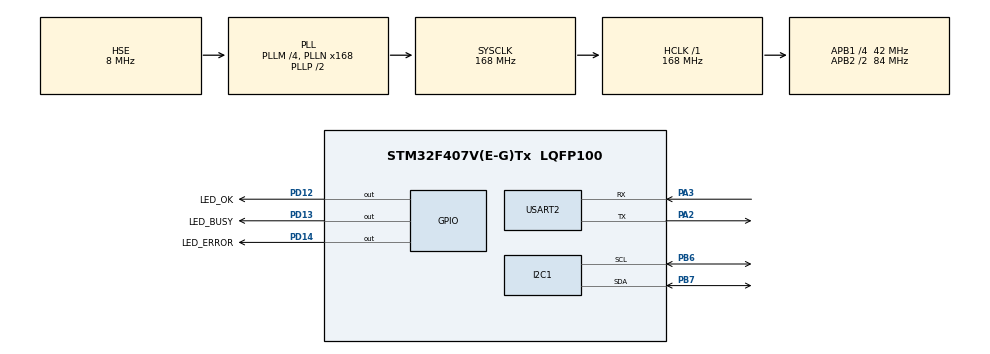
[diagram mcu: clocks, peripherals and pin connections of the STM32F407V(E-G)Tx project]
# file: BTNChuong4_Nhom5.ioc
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Dma.I2C1_RX.1.Direction=DMA_PERIPH_TO_MEMORY
Dma.I2C1_RX.1.FIFOMode=DMA_FIFOMODE_DISABLE
Dma.I2C1_RX.1.Instance=DMA1_Stream0
Dma.I2C1_RX.1.MemDataAlignment=DMA_MDATAALIGN_BYTE
Dma.I2C1_RX.1.MemInc=DMA_MINC_ENABLE
Dma.I2C1_RX.1.Mode=DMA_NORMAL
Dma.I2C1_RX.1.PeriphDataAlignment=DMA_PDATAALIGN_BYTE
Dma.I2C1_RX.1.PeriphInc=DMA_PINC_DISABLE
Dma.I2C1_RX.1.Priority=DMA_PRIORITY_LOW
Dma.Request0=USART2_TX
Dma.Request1=I2C1_RX
Dma.USART2_TX.0.Direction=DMA_MEMORY_TO_PERIPH
Dma.USART2_TX.0.FIFOMode=DMA_FIFOMODE_DISABLE
Dma.USART2_TX.0.Instance=DMA1_Stream6
Dma.USART2_TX.0.MemDataAlignment=DMA_MDATAALIGN_BYTE
Dma.USART2_TX.0.MemInc=DMA_MINC_ENABLE
Dma.USART2_TX.0.Mode=DMA_NORMAL
Dma.USART2_TX.0.PeriphDataAlignment=DMA_PDATAALIGN_BYTE
Dma.USART2_TX.0.PeriphInc=DMA_PINC_DISABLE
Dma.USART2_TX.0.Priority=DMA_PRIORITY_LOW
Mcu.Family=STM32F4
Mcu.Name=STM32F407V(E-G)Tx
Mcu.Package=LQFP100
NVIC.DMA1_Stream0_IRQn=true\:3\:0\:true\:false\:true\:false\:true\:true
NVIC.DMA1_Stream6_IRQn=true\:4\:0\:true\:false\:true\:false\:true\:true
NVIC.I2C1_ER_IRQn=true\:1\:0\:true\:false\:true\:true\:true\:true
NVIC.PriorityGroup=NVIC_PRIORITYGROUP_4
NVIC.USART2_IRQn=true\:2\:0\:true\:false\:true\:false\:true\:true
PA13.Mode=Serial_Wire
PA13.Signal=SYS_JTMS-SWDIO
PA14.Mode=Serial_Wire
PA14.Signal=SYS_JTCK-SWCLK
PA2.Mode=Asynchronous
PA2.Signal=USART2_TX
PA3.Mode=Asynchronous
PA3.Signal=USART2_RX
PB6.Mode=I2C
PB6.Signal=I2C1_SCL
PB7.Mode=I2C
PB7.Signal=I2C1_SDA
PD12.GPIO_Label=LED_OK
PD12.GPIO_ModeDefaultOutputPP=GPIO_MODE_OUTPUT_PP
PD12.GPIO_PuPd=GPIO_NOPULL
PD12.GPIO_Speed=GPIO_SPEED_FREQ_LOW
PD12.PinState=GPIO_PIN_RESET
PD12.Signal=GPIO_Output
PD13.GPIO_Label=LED_BUSY
PD13.Signal=GPIO_Output
PD14.GPIO_Label=LED_ERROR
PD14.Signal=GPIO_Output
PH0-OSC_IN.Mode=HSE-External-Oscillator
PH0-OSC_IN.Signal=RCC_OSC_IN
PH1-OSC_OUT.Mode=HSE-External-Oscillator
PH1-OSC_OUT.Signal=RCC_OSC_OUT
ProjectManager.HeapSize=0x200
ProjectManager.StackSize=0x400
ProjectManager.TargetToolchain=MDK-ARM V5.32
RCC.48MHZClocksFreq_Value=84000000
RCC.AHBFreq_Value=168000000
RCC.APB1CLKDivider=RCC_HCLK_DIV4
RCC.APB1Freq_Value=42000000
RCC.APB1TimFreq_Value=84000000
RCC.APB2CLKDivider=RCC_HCLK_DIV2
RCC.APB2Freq_Value=84000000
RCC.APB2TimFreq_Value=168000000
RCC.CortexFreq_Value=168000000
RCC.HCLKFreq_Value=168000000
RCC.HSE_VALUE=8000000
RCC.HSI_VALUE=16000000
RCC.LSE_VALUE=32768
RCC.PLLM=4
RCC.PLLN=168
RCC.PLLSourceVirtual=RCC_PLLSOURCE_HSE
RCC.SYSCLKFreq_VALUE=168000000
RCC.SYSCLKSource=RCC_SYSCLKSOURCE_PLLCLK
RCC.VCOOutputFreq_Value=336000000
USART2.VirtualMode=VM_ASYNC
board=custom

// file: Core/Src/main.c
/* USER CODE BEGIN Header */
/**
  ******************************************************************************
  * @file           : main.c
  * @brief          : Main program body
  ******************************************************************************
  * @attention
  *
  * Copyright (c) 2026 STMicroelectronics.
  * All rights reserved.
  *
  * This software is licensed under terms that can be found in the LICENSE file
  * in the root directory of this software component.
  * If no LICENSE file comes with this software, it is provided AS-IS.
  *
  ******************************************************************************
  */
/* USER CODE END Header */
#include "main.h"
#include "dma.h"
#include "i2c.h"
#include "usart.h"
#include "gpio.h"

/* USER CODE BEGIN Includes */
#include <stdio.h>
#include <string.h>
/* USER CODE END Includes */

/* USER CODE BEGIN PV */
// --- Biến cho MPU6050 ---
uint8_t data_raw[14];
int16_t accel_x, accel_y, accel_z;

// --- Biến cho Ngắt UART ---
uint8_t rxByte;              // Luu tung ky tu nhan duoc
char rxBuf[50];              // Bo dem luu chuoi lenh
uint8_t rxIndex = 0;         // Vi tri con tro trong bo dem
uint8_t cmdReady = 0;        // Co bao lenh da san sang
/* USER CODE END PV */

void SystemClock_Config(void);

int main(void)
{

  /* MCU Configuration--------------------------------------------------------*/

  /* Reset of all peripherals, Initializes the Flash interface and the Systick. */
  HAL_Init();

  /* Configure the system clock */
  SystemClock_Config();

  /* Initialize all configured peripherals */
  MX_GPIO_Init();
  MX_DMA_Init();
  MX_USART2_UART_Init();
  MX_I2C1_Init();
  /* USER CODE BEGIN 2 */
// ==========================================
// BƯỚC 0: TEST UART (Thông báo khởi động)
// ==========================================
  UART_Printf("\r\n=========================================\r\n");
  UART_Printf("   HE THONG KHOI DONG - TEST UART OK!    \r\n");
  UART_Printf("=========================================\r\n");

// ==========================================
// BƯỚC 1: KIỂM TRA I2C (EEPROM & MPU6050)
// ==========================================
uint8_t mpu_id = 0;
HAL_StatusTypeDef res_mpu, res_eeprom;

UART_Printf("\r\n--- DANG KIEM TRA KET NOI I2C ---\r\n");

// 1. Kiem tra EEPROM (Dia chi 0x50 << 1 = 0xA0)
res_eeprom = HAL_I2C_IsDeviceReady(&hi2c1, 0xA0, 3, 100);
if (res_eeprom == HAL_OK) {
    UART_Printf("[OK] Da tim thay EEPROM tai dia chi 0xA0\r\n");
} else {
    UART_Printf("[LOI] Khong tim thay EEPROM! Kiem tra chan A0,A1,A2 va day SDA/SCL\r\n");
}

// 2. Kiem tra MPU6050 (Dia chi 0x68 << 1 = 0xD0)
res_mpu = HAL_I2C_IsDeviceReady(&hi2c1, 0xD0, 3, 100);
if (res_mpu == HAL_OK) {
    UART_Printf("[OK] Da tim thay MPU6050 tai dia chi 0xD0\r\n");

    // 3. Doc thu thanh ghi WHO_AM_I (0x75) cua MPU6050
    HAL_I2C_Mem_Read(&hi2c1, 0xD0, 0x75, 1, &mpu_id, 1, 100);
    if (mpu_id == 0x68) {
        UART_Printf("[OK] Xac nhan chip MPU6050 chinh hang. ID: 0x%02X\r\n", mpu_id);
        HAL_GPIO_WritePin(GPIOD, LED_OK_Pin, GPIO_PIN_SET); // Sang LED xanh neu tat ca deu on
    } else {
        UART_Printf("[CANH BAO] ID doc duoc la 0x%02X, co ve khong phai MPU6050!\r\n", mpu_id);
    }
} else {
    UART_Printf("[LOI] Khong tim thay MPU6050! Kiem tra day va chan AD0\r\n");
    HAL_GPIO_WritePin(GPIOD, LED_ERROR_Pin, GPIO_PIN_SET); // Sang LED do bao loi
}
UART_Printf("---------------------------------\r\n");

 //Bat dau khai bao gtri
	uint8_t power_mgmt = 0x00;
HAL_I2C_Mem_Write(&hi2c1, 0xD0, 0x6B, 1, &power_mgmt, 1, 100);
UART_Printf("Da danh thuc MPU6050 thanh cong!\r\n");

//Khai bao trang thai LED
if (mpu_id == 0x68 && res_eeprom == HAL_OK) {
    // Mọi thứ hoàn hảo: Bật LED Xanh lá, Đảm bảo tắt LED Đỏ
    HAL_GPIO_WritePin(GPIOD, LED_OK_Pin, GPIO_PIN_SET);
    HAL_GPIO_WritePin(GPIOD, LED_ERROR_Pin, GPIO_PIN_RESET);
} else {
    // Có linh kiện không nhận: Bật LED Đỏ, Tắt LED Xanh
    HAL_GPIO_WritePin(GPIOD, LED_ERROR_Pin, GPIO_PIN_SET);
    HAL_GPIO_WritePin(GPIOD, LED_OK_Pin, GPIO_PIN_RESET);
}

// Sau khi khoi tao MPU6050 thi kich hoat de chip nghe lenh
HAL_UART_Receive_IT(&huart2, &rxByte, 1);
  /* USER CODE END 2 */

  /* Infinite loop */
  while (1)
  {

    /* USER CODE BEGIN 3 */

    // ==========================================
    // PHẦN 1: ĐỌC DỮ LIỆU CẢM BIẾN (Chạy liên tục)
    // ==========================================
    if (HAL_I2C_Mem_Read(&hi2c1, 0xD0, 0x3B, 1, data_raw, 14, 100) == HAL_OK)
    {
        accel_x = (int16_t)(data_raw[0] << 8 | data_raw[1]);
        accel_y = (int16_t)(data_raw[2] << 8 | data_raw[3]);
        accel_z = (int16_t)(data_raw[4] << 8 | data_raw[5]);

        HAL_GPIO_TogglePin(GPIOD, LED_OK_Pin);

			//********* NOTE: ON/OFF phan in ra man hinh Hercules *****************
       UART_Printf("X:%d \t Y:%d \t Z:%d \r\n", accel_x, accel_y, accel_z);
    }
    else
    {
        UART_Printf("Loi doc I2C! \r\n");
        HAL_GPIO_WritePin(GPIOD, LED_ERROR_Pin, GPIO_PIN_SET);
    }

		// ==========================================
    // PHẦN 2: XỬ LÝ LỆNH TỪ HERCULES (Bản Hoàn Thiện)
    // ==========================================
    if (cmdReady == 1) {

        // 1. Lệnh SAVE: Minh họa "GHI BLOCK" (Ghi 1 lèo 6 byte X, Y, Z)
        if (strcmp(rxBuf, "SAVE") == 0) {
            UART_Printf("\r\n>> Dang thuc hien GHI BLOCK 6 byte vao EEPROM...\r\n");
            uint8_t data_to_save[6];
            data_to_save[0] = (uint8_t)(accel_x >> 8);
            data_to_save[1] = (uint8_t)(accel_x & 0xFF);
            data_to_save[2] = (uint8_t)(accel_y >> 8);
            data_to_save[3] = (uint8_t)(accel_y & 0xFF);
            data_to_save[4] = (uint8_t)(accel_z >> 8);
            data_to_save[5] = (uint8_t)(accel_z & 0xFF);

            HAL_GPIO_WritePin(GPIOD, LED_BUSY_Pin, GPIO_PIN_SET);
            HAL_I2C_Mem_Write(&hi2c1, 0xA0, 0x00, 1, data_to_save, 6, 100);
            HAL_Delay(5);
            HAL_GPIO_WritePin(GPIOD, LED_BUSY_Pin, GPIO_PIN_RESET);
            UART_Printf(">> [OK] Da ghi BLOCK xong.\r\n\r\n");
        }

        // 2. Lệnh WRITE: Minh họa "GHI BYTE" (Cú pháp: WRITE <Dia_Chi_Hex> <Noi_Dung_Hex>)
        // Ví dụ gõ trên Hercules: WRITE 08 FF (Ghi giá trị 0xFF vào ô nhớ 0x08)
        else if (strncmp(rxBuf, "WRITE ", 6) == 0) {
            unsigned int addr, val;
            // Bóc tách địa chỉ và giá trị từ lệnh gõ
            sscanf(rxBuf + 6, "%x %x", &addr, &val);
            uint8_t data_byte = (uint8_t)val;

            HAL_GPIO_WritePin(GPIOD, LED_BUSY_Pin, GPIO_PIN_SET);
            // Độ dài dữ liệu là 1 -> Ghi Byte
            HAL_I2C_Mem_Write(&hi2c1, 0xA0, (uint16_t)addr, 1, &data_byte, 1, 100);
            HAL_Delay(5);
            HAL_GPIO_WritePin(GPIOD, LED_BUSY_Pin, GPIO_PIN_RESET);

            UART_Printf("\r\n>> [OK] Da thuc hien GHI BYTE. Dia chi: 0x%02X | Noi dung: 0x%02X\r\n\r\n", addr, data_byte);
        }

        // 3. Lệnh READ: Minh họa "PC Đọc Địa Chỉ Và Nội Dung" (Cú pháp: READ <Dia_Chi_Hex>)
        // Ví dụ gõ trên Hercules: READ 08
        else if (strncmp(rxBuf, "READ ", 5) == 0) {
            unsigned int addr;
            // Bóc tách địa chỉ muốn đọc
            sscanf(rxBuf + 5, "%x", &addr);
            uint8_t read_byte = 0;

            HAL_I2C_Mem_Read(&hi2c1, 0xA0, (uint16_t)addr, 1, &read_byte, 1, 100);

            // In đúng yêu cầu: Địa chỉ và Nội dung
            UART_Printf("\r\n>> [EEPROM] PC Yeu cau doc Dia chi: 0x%02X | Noi dung: 0x%02X (%d)\r\n\r\n", addr, read_byte, read_byte);
        }
        else {
            UART_Printf("\r\n>> [LOI] Lenh khong hop le! Dung: SAVE, WRITE <addr> <val>, hoac READ <addr>.\r\n\r\n");
        }

        cmdReady = 0;
    }

    HAL_Delay(100); // Giảm delay xuống 100ms để hệ thống phản hồi lệnh gõ nhanh hơn

  }
  /* USER CODE END 3 */
}

void SystemClock_Config(void)
{
  RCC_OscInitTypeDef RCC_OscInitStruct = {0};
  RCC_ClkInitTypeDef RCC_ClkInitStruct = {0};

  /** Configure the main internal regulator output voltage
  */
  __HAL_RCC_PWR_CLK_ENABLE();
  __HAL_PWR_VOLTAGESCALING_CONFIG(PWR_REGULATOR_VOLTAGE_SCALE1);

  /** Initializes the RCC Oscillators according to the specified parameters
  * in the RCC_OscInitTypeDef structure.
  */
  RCC_OscInitStruct.OscillatorType = RCC_OSCILLATORTYPE_HSE;
  RCC_OscInitStruct.HSEState = RCC_HSE_ON;
  RCC_OscInitStruct.PLL.PLLState = RCC_PLL_ON;
  RCC_OscInitStruct.PLL.PLLSource = RCC_PLLSOURCE_HSE;
  RCC_OscInitStruct.PLL.PLLM = 4;
  RCC_OscInitStruct.PLL.PLLN = 168;
  RCC_OscInitStruct.PLL.PLLP = RCC_PLLP_DIV2;
  RCC_OscInitStruct.PLL.PLLQ = 4;
  if (HAL_RCC_OscConfig(&RCC_OscInitStruct) != HAL_OK)
  {
    Error_Handler();
  }

  /** Initializes the CPU, AHB and APB buses clocks
  */
  RCC_ClkInitStruct.ClockType = RCC_CLOCKTYPE_HCLK|RCC_CLOCKTYPE_SYSCLK
                              |RCC_CLOCKTYPE_PCLK1|RCC_CLOCKTYPE_PCLK2;
  RCC_ClkInitStruct.SYSCLKSource = RCC_SYSCLKSOURCE_PLLCLK;
  RCC_ClkInitStruct.AHBCLKDivider = RCC_SYSCLK_DIV1;
  RCC_ClkInitStruct.APB1CLKDivider = RCC_HCLK_DIV4;
  RCC_ClkInitStruct.APB2CLKDivider = RCC_HCLK_DIV2;

  if (HAL_RCC_ClockConfig(&RCC_ClkInitStruct, FLASH_LATENCY_5) != HAL_OK)
  {
    Error_Handler();
  }
}

/* USER CODE BEGIN 4 */

void HAL_UART_RxCpltCallback(UART_HandleTypeDef *huart) {
    if (huart->Instance == USART2) {
        if (rxByte == '\r' || rxByte == '\n') { // Neu nhan duoc phim Enter
            rxBuf[rxIndex] = '\0';             // Ket thuc chuoi
            cmdReady = 1;                      // Bat co bao da co lenh
            rxIndex = 0;
        } else {
            rxBuf[rxIndex++] = rxByte;         // Luu ky tu vao bo dem
        }
        HAL_UART_Receive_IT(&huart2, &rxByte, 1); // Tiep tuc cho ky tu tiep theo
    }
}

// ==========================================
// HÀM BẮT LỖI VÀ XỬ LÝ SỰ CỐ UART
// ==========================================
void HAL_UART_ErrorCallback(UART_HandleTypeDef *huart)
{
    if (huart->Instance == USART2)
    {
        // 1. Cảnh báo vật lý: Bật LED đỏ báo hiệu hệ thống giao tiếp đang có vấn đề
        HAL_GPIO_WritePin(GPIOD, LED_ERROR_Pin, GPIO_PIN_SET);

        // Cảnh báo phụ: Tắt LED xanh để biết hệ thống không còn ở trạng thái hoàn hảo
        HAL_GPIO_WritePin(GPIOD, LED_OK_Pin, GPIO_PIN_RESET);

        // 2. Tự phục hồi (Recovery):
        // Khi xảy ra lỗi (đặc biệt là lỗi tràn bộ đệm Overrun), hệ thống ngắt UART thường bị treo.
        // Cần gọi lại hàm Receive để "khơi thông" lại đường ống.
        uint32_t er = HAL_UART_GetError(huart);
        if(er != HAL_UART_ERROR_NONE)
        {
            // Reset lại cờ lỗi và mở lại ngắt nhận
            __HAL_UART_CLEAR_OREFLAG(huart);
            __HAL_UART_CLEAR_NEFLAG(huart);
            __HAL_UART_CLEAR_FEFLAG(huart);

            HAL_UART_Receive_IT(&huart2, &rxByte, 1);
        }
    }
}
/* USER CODE END 4 */

void Error_Handler(void)
{
  __disable_irq();
  while (1)
  {
  }
}
